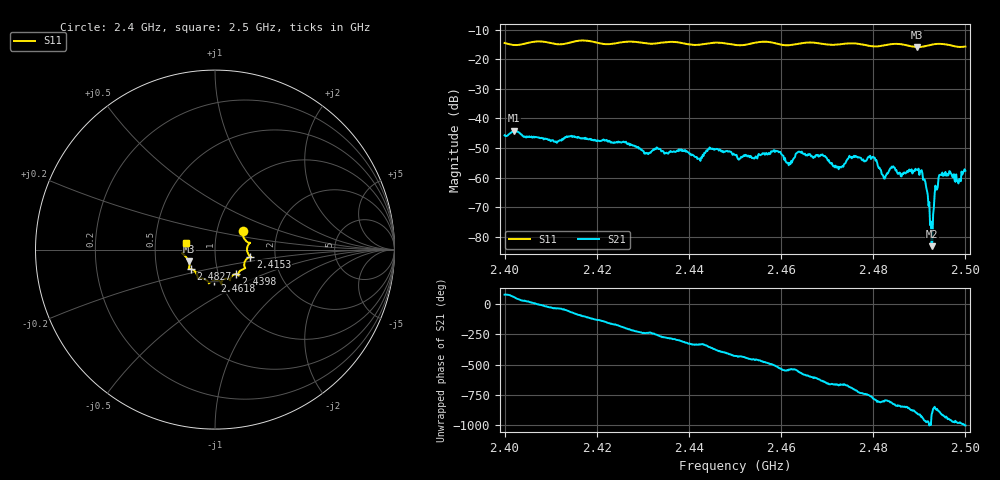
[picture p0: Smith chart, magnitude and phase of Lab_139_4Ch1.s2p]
# Hz S RI R 50
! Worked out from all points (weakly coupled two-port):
!   601 points, 2.4 GHz to 2.5 GHz, reference 50 ohm
!   highest |S21| = -44.17 dB at 2.402 GHz (marker M1); lowest = -83.1 dB at 2.4927 GHz (marker M2)
!   lowest |S11| = -15.9 dB at 2.4895 GHz (marker M3), VSWR 1.38, Z = 37 - j5.02 ohm
!   |S11| at or under -10 dB: start of sweep to end of sweep
!   S12 and S22 are empty: the file has one direction only
!   S11 on the Smith chart (normalised r, x): 2.4 GHz: 1.33, +0.29; 2.4153 GHz: 1.48, -0.12; 2.4398 GHz: 1.21, -0.34; 2.4618 GHz: 0.94, -0.33; 2.4827 GHz: 0.75, -0.17; 2.5 GHz: 0.72, +0.06
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2.4e9  0.1551 0.1062  0.00148 0.00498  0 0  0 0
2.402e9  0.1573 0.0738  0.00359 0.00504  0 0  0 0
2.415333e9  0.1964 -0.0389  0.00064 -0.00478  0 0  0 0
2.416667e9  0.2024 -0.0431  -0.00062 -0.0046  0 0  0 0
2.433333e9  0.13 -0.1339  -0.00044 0.00302  0 0  0 0
2.439833e9  0.1155 -0.1363  0.00228 0.00139  0 0  0 0
2.45e9  0.0647 -0.1622  0.000871 -0.00227  0 0  0 0
2.458833e9  0.0322 -0.1823  -0.00256 -0.00128  0 0  0 0
2.461833e9  -0.00314 -0.1725  -0.00177 7.73e-05  0 0  0 0
2.463667e9  -0.0251 -0.1803  -0.00262 0.000706  0 0  0 0
2.466667e9  -0.0344 -0.1881  -0.00105 0.00206  0 0  0 0
2.4725e9  -0.0757 -0.1606  0.00093 0.00103  0 0  0 0
2.479833e9  -0.1085 -0.1246  0.00136 -0.00179  0 0  0 0
2.482667e9  -0.1348 -0.1087  0.000287 -0.00101  0 0  0 0
2.483333e9  -0.1399 -0.1083  0.000196 -0.00125  0 0  0 0
2.4895e9  -0.1458 -0.0661  -0.00136 -2.67e-05  0 0  0 0
2.491e9  -0.158 -0.045  -0.000536 0.000783  0 0  0 0
2.492667e9  -0.1735 -0.0288  -6.86e-05 1.3e-05  0 0  0 0
2.493833e9  -0.1798 -0.023  -0.000512 -0.000371  0 0  0 0
2.494667e9  -0.1803 -0.0204  -0.00113 9.08e-05  0 0  0 0
2.498167e9  -0.1627 0.00702  -0.000232 0.000872  0 0  0 0
2.5e9  -0.1592 0.0381  0.00023 0.00129  0 0  0 0
